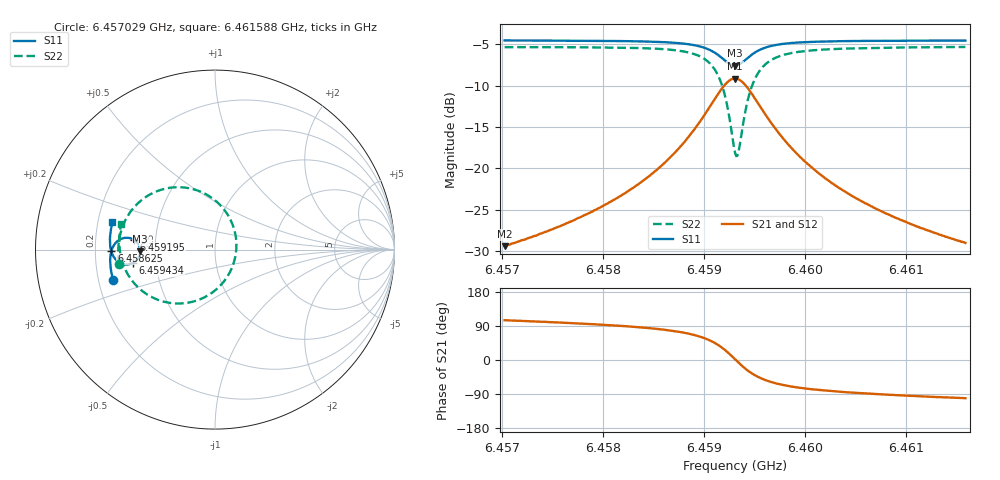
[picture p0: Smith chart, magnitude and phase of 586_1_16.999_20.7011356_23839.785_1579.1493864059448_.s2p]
#  HZ  S  RI  R  50.00
! Rohde & Schwarz Vector Network Analyzer
! Rohde-Schwarz,ZNB20-2Port,1311601062101988,3.16
! Created: UTC 3/20/2024, 11:18:19 PM
! freq[Hz]  re:S11  im:S11  re:S21  im:S21  re:S12  im:S12  re:S22  im:S22
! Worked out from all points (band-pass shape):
!   401 points, 6.457029 GHz to 6.461588 GHz, reference 50 ohm
!   highest |S21| = -9.14 dB at 6.459308 GHz (marker M1); lowest = -29.4 dB at 6.457029 GHz (marker M2)
!   |S21| within 3 dB of the highest: 6.459081 GHz to 6.459537 GHz (456.1 kHz wide, 0.00706 % of centre)
!   lowest |S11| = -7.6 dB at 6.459308 GHz (marker M3), VSWR 2.43, Z = 20.6 - j0.421 ohm
!   |S11| at or under -10 dB: nowhere
!   |S22| runs from -18.5 to -5.3 dB; largest |S21 - S12| = 0.014
!   S11 on the Smith chart (normalised r, x): 6.457029 GHz: 0.26, -0.14; 6.458625 GHz: 0.27, -0.01; 6.459195 GHz: 0.37, +0.05; 6.459434 GHz: 0.37, -0.07; 6.461588 GHz: 0.26, +0.12
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6.457029e9  -0.5679 -0.1681  -0.00872 0.0328  -0.00698 0.0328  -0.5339 -0.0799
6.4577926e9  -0.5814 -0.1012  -0.00533 0.051  -0.00277 0.0503  -0.5386 0.00991
6.4582029e9  -0.5839 -0.0599  0.000489 0.07  0.00384 0.0685  -0.5301 0.0755
6.4585563e9  -0.5798 -0.0176  0.0149 0.0997  0.0188 0.0969  -0.5036 0.1555
6.4586247e9  -0.5774 -0.00806  0.0203 0.1081  0.0245 0.1048  -0.4932 0.1756
6.4588184e9  -0.5646 0.0224  0.0473 0.1391  0.0514 0.1341  -0.4425 0.245
6.4589666e9  -0.5417 0.0485  0.0932 0.1697  0.0964 0.1629  -0.3579 0.3094
6.4591033e9  -0.4975 0.066  0.1811 0.186  0.1819 0.1786  -0.1969 0.3475
6.4591945e9  -0.4526 0.0554  0.2716 0.1542  0.2719 0.1483  -0.029 0.2957
6.4592629e9  -0.4233 0.023  0.3325 0.0813  0.3348 0.076  0.0873 0.1645
6.4593085e9  -0.4163 -0.00845  0.3487 0.0129  0.3525 0.00575  0.1194 0.0358
6.4593427e9  -0.4204 -0.0322  0.3428 -0.0402  0.3468 -0.0493  0.1073 -0.0647
6.4593883e9  -0.4363 -0.0586  0.3137 -0.1006  0.316 -0.1126  0.0485 -0.179
6.4594339e9  -0.4585 -0.075  0.271 -0.1419  0.2703 -0.1554  -0.0379 -0.2545
6.4594795e9  -0.4815 -0.082  0.2262 -0.1644  0.2222 -0.1774  -0.1286 -0.2914
6.4595364e9  -0.507 -0.0812  0.1762 -0.1736  0.1694 -0.1848  -0.2271 -0.2997
6.4596732e9  -0.5466 -0.0615  0.0966 -0.1586  0.0879 -0.165  -0.3786 -0.2496
6.4598442e9  -0.5692 -0.0318  0.0492 -0.1283  0.0417 -0.131  -0.4632 -0.1717
6.4600721e9  -0.5808 0.00195  0.0221 -0.0983  0.0162 -0.0988  -0.5077 -0.0932
6.4604254e9  -0.5854 0.044  0.00565 -0.0705  0.00166 -0.0699  -0.5293 -0.0113
6.4608357e9  -0.5835 0.0854  -0.00155 -0.0524  -0.00447 -0.0516  -0.5329 0.0548
6.461588e9  -0.5713 0.1521  -0.00678 -0.0349  -0.00835 -0.0339  -0.5213 0.1444
